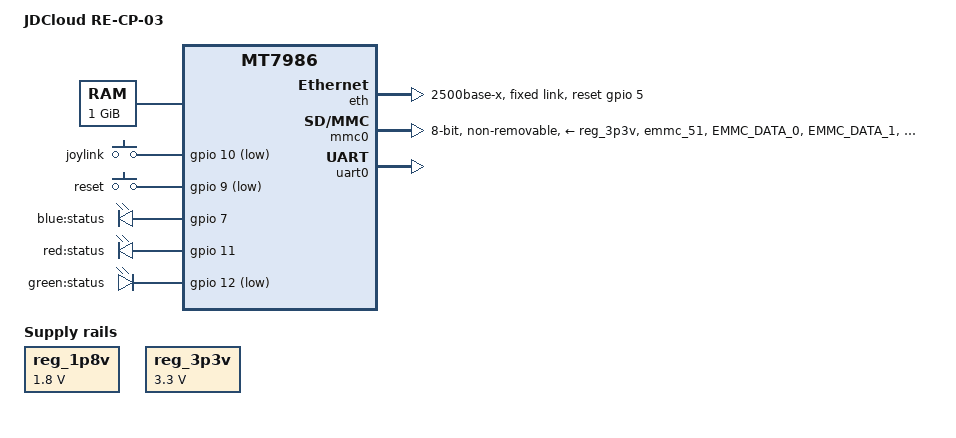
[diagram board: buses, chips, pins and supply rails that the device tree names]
// SPDX-License-Identifier: GPL-2.0-or-later

/dts-v1/;
#include <dt-bindings/input/linux-event-codes.h>
#include "mt7986.dtsi"
#include <dt-bindings/gpio/gpio.h>

/ {
	#address-cells = <1>;
	#size-cells = <1>;
	model = "JDCloud RE-CP-03";
	compatible = "mediatek,mt7986", "mediatek,mt7986-rfb";

	chosen {
		stdout-path = &uart0;
		tick-timer = &timer0;
	};

	memory@40000000 {
		device_type = "memory";
		reg = <0x40000000 0x40000000>;
	};

	gpio-keys {
		compatible = "gpio-keys";

		button-joylink {
			label = "joylink";
			linux,code = <BTN_0>;
			gpios = <&gpio 10 GPIO_ACTIVE_LOW>;
		};

		button-reset {
			label = "reset";
			linux,code = <KEY_RESTART>;
			gpios = <&gpio 9 GPIO_ACTIVE_LOW>;
		};
	};

	gpio-leds {
		compatible = "gpio-leds";

		led-0 {
			label = "blue:status";
			gpios = <&gpio 7 GPIO_ACTIVE_HIGH>;
			default-state = "off";
		};

		led-1 {
			label = "red:status";
			gpios = <&gpio 11 GPIO_ACTIVE_HIGH>;
			default-state = "on";
		};

		led-2 {
			label = "green:status";
			gpios = <&gpio 12 GPIO_ACTIVE_LOW>;
			default-state = "off";
		};
	};

	reg_1p8v: regulator-1p8v {
		compatible = "regulator-fixed";
		regulator-name = "fixed-1.8V";
		regulator-min-microvolt = <1800000>;
		regulator-max-microvolt = <1800000>;
		regulator-boot-on;
		regulator-always-on;
	};

	reg_3p3v: regulator-3p3v {
		compatible = "regulator-fixed";
		regulator-name = "fixed-3.3V";
		regulator-min-microvolt = <3300000>;
		regulator-max-microvolt = <3300000>;
		regulator-boot-on;
		regulator-always-on;
	};
};

&eth {
	status = "okay";
	mediatek,gmac-id = <0>;
	phy-mode = "2500base-x";
	mediatek,switch = "mt7531";
	reset-gpios = <&gpio 5 GPIO_ACTIVE_HIGH>;

	fixed-link {
		speed = <2500>;
		full-duplex;
	};
};

&mmc0 {
	bus-width = <8>;
	cap-mmc-highspeed;
	cap-mmc-hw-reset;
	max-frequency = <200000000>;
	non-removable;
	pinctrl-names = "default";
	pinctrl-0 = <&mmc0_pins_default>;
	vmmc-supply = <&reg_3p3v>;
	vqmmc-supply = <&reg_1p8v>;
	status = "okay";
};

&pinctrl {
	mmc0_pins_default: mmc0default {
		mux {
			function = "flash";
			groups =  "emmc_51";
		};

		conf-cmd-dat {
			pins = "EMMC_DATA_0", "EMMC_DATA_1", "EMMC_DATA_2",
			       "EMMC_DATA_3", "EMMC_DATA_4", "EMMC_DATA_5",
			       "EMMC_DATA_6", "EMMC_DATA_7", "EMMC_CMD";
			input-enable;
			drive-strength = <MTK_DRIVE_4mA>;
			bias-pull-up = <MTK_PUPD_SET_R1R0_01>;
		};

		conf-clk {
			pins = "EMMC_CK";
			drive-strength = <MTK_DRIVE_6mA>;
			bias-pull-down = <MTK_PUPD_SET_R1R0_10>;
		};

		conf-dsl {
			pins = "EMMC_DSL";
			bias-pull-down = <MTK_PUPD_SET_R1R0_10>;
		};

		conf-rst {
			pins = "EMMC_RSTB";
			drive-strength = <MTK_DRIVE_4mA>;
			bias-pull-up = <MTK_PUPD_SET_R1R0_01>;
		};
	};
};

&uart0 {
	status = "okay";
};

&watchdog {
	status = "disabled";
};
